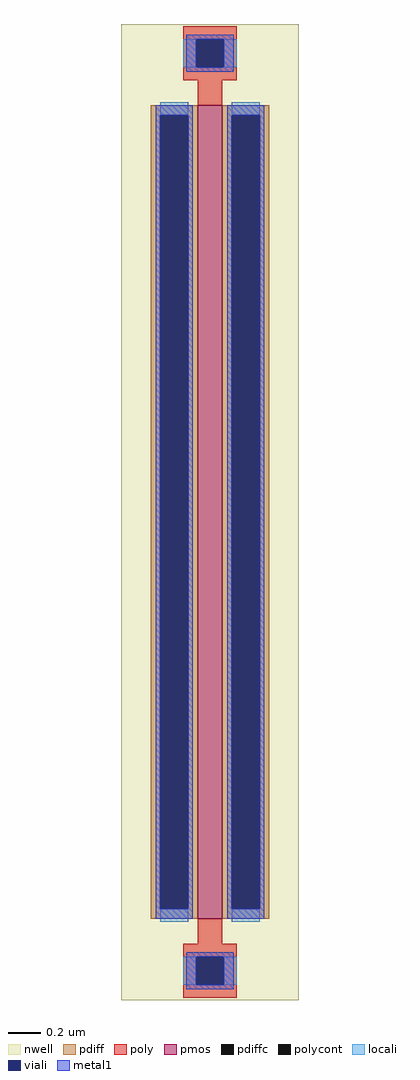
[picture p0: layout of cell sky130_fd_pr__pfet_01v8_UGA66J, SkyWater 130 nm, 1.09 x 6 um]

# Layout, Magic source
magic
tech sky130A
magscale 1 2
<< nwell >>
rect -109 -600 109 600
<< pmos >>
rect -15 -500 15 500
<< pdiff >>
rect -73 488 -15 500
rect -73 -488 -61 488
rect -27 -488 -15 488
rect -73 -500 -15 -488
rect 15 488 73 500
rect 15 -488 27 488
rect 61 -488 73 488
rect 15 -500 73 -488
<< pdiffc >>
rect -61 -488 -27 488
rect 27 -488 61 488
<< poly >>
rect -33 581 33 597
rect -33 547 -17 581
rect 17 547 33 581
rect -33 531 33 547
rect -15 500 15 531
rect -15 -531 15 -500
rect -33 -547 33 -531
rect -33 -581 -17 -547
rect 17 -581 33 -547
rect -33 -597 33 -581
<< polycont >>
rect -17 547 17 581
rect -17 -581 17 -547
<< locali >>
rect -33 547 -17 581
rect 17 547 33 581
rect -61 488 -27 504
rect -61 -504 -27 -488
rect 27 488 61 504
rect 27 -504 61 -488
rect -33 -581 -17 -547
rect 17 -581 33 -547
<< viali >>
rect -17 547 17 581
rect -61 -488 -27 488
rect 27 -488 61 488
rect -17 -581 17 -547
<< metal1 >>
rect -29 581 29 587
rect -29 547 -17 581
rect 17 547 29 581
rect -29 541 29 547
rect -67 488 -21 500
rect -67 -488 -61 488
rect -27 -488 -21 488
rect -67 -500 -21 -488
rect 21 488 67 500
rect 21 -488 27 488
rect 61 -488 67 488
rect 21 -500 67 -488
rect -29 -547 29 -541
rect -29 -581 -17 -547
rect 17 -581 29 -547
rect -29 -587 29 -581
<< properties >>
string gencell sky130_fd_pr__pfet_01v8
string library sky130
string parameters w 5.0 l 0.15 m 1 nf 1 diffcov 100 polycov 100 guard 0 glc 1 grc 1 gtc 1 gbc 1 tbcov 100 rlcov 100 topc 1 botc 1 poverlap 0 doverlap 1 lmin 0.15 wmin 0.42 compatible {sky130_fd_pr__pfet_01v8  sky130_fd_pr__pfet_01v8_lvt sky130_fd_pr__pfet_01v8_hvt  sky130_fd_pr__pfet_g5v0d10v5} full_metal 1 viasrc 100 viadrn 100 viagate 100 viagb 0 viagr 0 viagl 0 viagt 0
<< end >>
